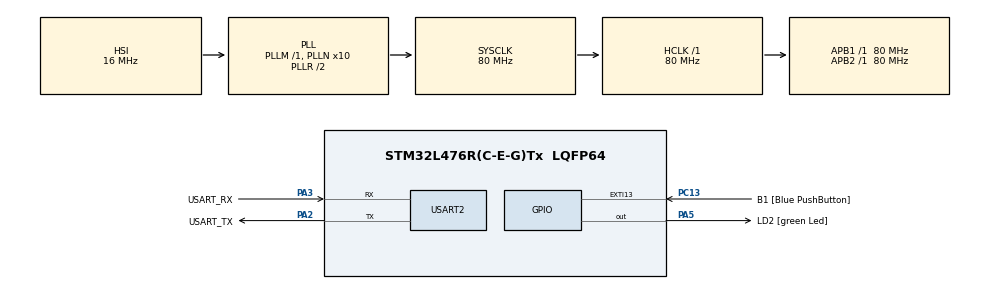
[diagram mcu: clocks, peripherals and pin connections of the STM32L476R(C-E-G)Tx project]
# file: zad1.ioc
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ARM.CMSIS-DSP.1.16.2.CMSISJjDSP=Source
Mcu.Family=STM32L4
Mcu.Name=STM32L476R(C-E-G)Tx
Mcu.Package=LQFP64
NVIC.PriorityGroup=NVIC_PRIORITYGROUP_4
PA13\ (JTMS-SWDIO).GPIO_Label=TMS
PA13\ (JTMS-SWDIO).Mode=Serial_Wire
PA13\ (JTMS-SWDIO).Signal=SYS_JTMS-SWDIO
PA14\ (JTCK-SWCLK).GPIO_Label=TCK
PA14\ (JTCK-SWCLK).Mode=Serial_Wire
PA14\ (JTCK-SWCLK).Signal=SYS_JTCK-SWCLK
PA2.GPIO_Label=USART_TX
PA2.GPIO_Mode=GPIO_MODE_AF_PP
PA2.GPIO_PuPd=GPIO_NOPULL
PA2.GPIO_Speed=GPIO_SPEED_FREQ_VERY_HIGH
PA2.Mode=Asynchronous
PA2.Signal=USART2_TX
PA3.GPIO_Label=USART_RX
PA3.GPIO_Mode=GPIO_MODE_AF_PP
PA3.GPIO_PuPd=GPIO_NOPULL
PA3.GPIO_Speed=GPIO_SPEED_FREQ_VERY_HIGH
PA3.Mode=Asynchronous
PA3.Signal=USART2_RX
PA5.GPIO_Label=LD2 [green Led]
PA5.GPIO_ModeDefaultOutputPP=GPIO_MODE_OUTPUT_PP
PA5.GPIO_PuPd=GPIO_NOPULL
PA5.GPIO_Speed=GPIO_SPEED_FREQ_LOW
PA5.Signal=GPIO_Output
PB3\ (JTDO-TRACESWO).GPIO_Label=SWO
PB3\ (JTDO-TRACESWO).Signal=SYS_JTDO-SWO
PC13.GPIO_Label=B1 [Blue PushButton]
PC13.GPIO_ModeDefaultEXTI=GPIO_MODE_IT_FALLING
PC13.GPIO_PuPd=GPIO_NOPULL
PC13.Signal=GPXTI13
PC14-OSC32_IN\ (PC14).Mode=LSE-External-Oscillator
PC14-OSC32_IN\ (PC14).Signal=RCC_OSC32_IN
PC15-OSC32_OUT\ (PC15).Mode=LSE-External-Oscillator
PC15-OSC32_OUT\ (PC15).Signal=RCC_OSC32_OUT
PH0-OSC_IN\ (PH0).Signal=RCC_OSC_IN
PH1-OSC_OUT\ (PH1).Signal=RCC_OSC_OUT
ProjectManager.HeapSize=0x200
ProjectManager.StackSize=0x400
ProjectManager.TargetToolchain=CMake
RCC.ADCFreq_Value=64000000
RCC.AHBFreq_Value=80000000
RCC.APB1Freq_Value=80000000
RCC.APB1TimFreq_Value=80000000
RCC.APB2Freq_Value=80000000
RCC.APB2TimFreq_Value=80000000
RCC.CortexFreq_Value=80000000
RCC.HCLKFreq_Value=80000000
RCC.HSE_VALUE=8000000
RCC.HSI_VALUE=16000000
RCC.MSI_VALUE=4000000
RCC.PLLN=10
RCC.PLLSourceVirtual=RCC_PLLSOURCE_HSI
RCC.PREFETCH_ENABLE=1
RCC.SYSCLKFreq_VALUE=80000000
RCC.SYSCLKSource=RCC_SYSCLKSOURCE_PLLCLK
RCC.USBFreq_Value=64000000
RCC.VCOOutputFreq_Value=160000000
USART2.VirtualMode-Asynchronous=VM_ASYNC
VP_ARM.CMSIS-DSP_VS_CMSISJjDSP_1.16.2_1.16.2.Mode=CMSISJjDSP
board=NUCLEO-L476RG

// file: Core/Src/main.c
/* USER CODE BEGIN Header */
/**
  ******************************************************************************
  * @file           : main.c
  * @brief          : Main program body
  ******************************************************************************
  * @attention
  *
  * Copyright (c) 2026 STMicroelectronics.
  * All rights reserved.
  *
  * This software is licensed under terms that can be found in the LICENSE file
  * in the root directory of this software component.
  * If no LICENSE file comes with this software, it is provided AS-IS.
  *
  ******************************************************************************
  */
/* USER CODE END Header */
#include "main.h"
#include "usart.h"
#include "gpio.h"

#include <stdio.h>

#include "X2_vec.h"
#include "Y2_REF_vec.h"
#include "Y2_vec.h"
#include "IIR1_biquad_df1.h"

void SystemClock_Config(void);

/* USER CODE BEGIN 0 */
int __io_putchar(char ch)
{
	uint8_t chx;
	if(ch == '\n')
	{
		chx = '\r';
		HAL_UART_Transmit(&huart2, &chx, 1, HAL_MAX_DELAY);
	}
	chx = ch;
	HAL_UART_Transmit(&huart2, &chx, 1, HAL_MAX_DELAY);
	return 1;
}

float32_t RMSE ( float32_t * y , float32_t * yref , uint32_t len )
{
float32_t sum_sq_error = 0;
for ( uint32_t i = 0; i < len ; i ++)
sum_sq_error += ( yref [ i ] - y [ i ]) *( yref [ i ] - y [ i ]) ;
return sqrtf ( sum_sq_error / len ) ;
}
/* USER CODE END 0 */

int main(void)
{

  /* MCU Configuration--------------------------------------------------------*/

  /* Reset of all peripherals, Initializes the Flash interface and the Systick. */
  HAL_Init();

  /* Configure the system clock */
  SystemClock_Config();

  /* Initialize all configured peripherals */
  MX_GPIO_Init();
  MX_USART2_UART_Init();
  /* USER CODE BEGIN 2 */
  arm_biquad_cascade_df1_init_f32(&IIR1, IIR1_NUM_STAGES, IIR1_COEFFS, IIR1_STATE);
  arm_biquad_cascade_df1_f32(&IIR1, X2, Y2, Y2_LEN);
  float32_t rmse = RMSE(Y2, Y2_REF, Y2_REF_LEN);
  for(int i  = 0 ; i < Y2_REF_LEN; i++)
  {
	  printf("Y2_REF[%d]: %.3f | Y2[%d]: %.3f\n", i, Y2_REF[i], i, Y2[i]);
  }

  printf("RMSE: %.12f\n", rmse);
  if(rmse < 1e-4)
	  printf("TEST PRZESZEDŁ POPRAWNIE\n");
  else
	  printf("TEST PRZESZEDŁ NIEPOPRWANIE\n");
  /* USER CODE END 2 */

  /* Infinite loop */
  while (1)
  {

  }
}

void SystemClock_Config(void)
{
  RCC_OscInitTypeDef RCC_OscInitStruct = {0};
  RCC_ClkInitTypeDef RCC_ClkInitStruct = {0};

  /** Configure the main internal regulator output voltage
  */
  if (HAL_PWREx_ControlVoltageScaling(PWR_REGULATOR_VOLTAGE_SCALE1) != HAL_OK)
  {
    Error_Handler();
  }

  /** Initializes the RCC Oscillators according to the specified parameters
  * in the RCC_OscInitTypeDef structure.
  */
  RCC_OscInitStruct.OscillatorType = RCC_OSCILLATORTYPE_HSI;
  RCC_OscInitStruct.HSIState = RCC_HSI_ON;
  RCC_OscInitStruct.HSICalibrationValue = RCC_HSICALIBRATION_DEFAULT;
  RCC_OscInitStruct.PLL.PLLState = RCC_PLL_ON;
  RCC_OscInitStruct.PLL.PLLSource = RCC_PLLSOURCE_HSI;
  RCC_OscInitStruct.PLL.PLLM = 1;
  RCC_OscInitStruct.PLL.PLLN = 10;
  RCC_OscInitStruct.PLL.PLLP = RCC_PLLP_DIV7;
  RCC_OscInitStruct.PLL.PLLQ = RCC_PLLQ_DIV2;
  RCC_OscInitStruct.PLL.PLLR = RCC_PLLR_DIV2;
  if (HAL_RCC_OscConfig(&RCC_OscInitStruct) != HAL_OK)
  {
    Error_Handler();
  }

  /** Initializes the CPU, AHB and APB buses clocks
  */
  RCC_ClkInitStruct.ClockType = RCC_CLOCKTYPE_HCLK|RCC_CLOCKTYPE_SYSCLK
                              |RCC_CLOCKTYPE_PCLK1|RCC_CLOCKTYPE_PCLK2;
  RCC_ClkInitStruct.SYSCLKSource = RCC_SYSCLKSOURCE_PLLCLK;
  RCC_ClkInitStruct.AHBCLKDivider = RCC_SYSCLK_DIV1;
  RCC_ClkInitStruct.APB1CLKDivider = RCC_HCLK_DIV1;
  RCC_ClkInitStruct.APB2CLKDivider = RCC_HCLK_DIV1;

  if (HAL_RCC_ClockConfig(&RCC_ClkInitStruct, FLASH_LATENCY_4) != HAL_OK)
  {
    Error_Handler();
  }
}

void Error_Handler(void)
{
  __disable_irq();
  while (1)
  {
  }
}
